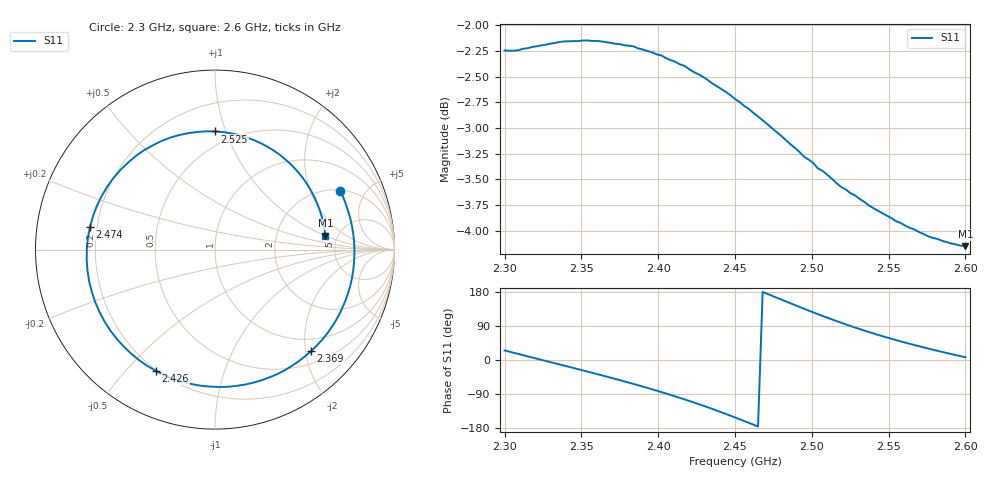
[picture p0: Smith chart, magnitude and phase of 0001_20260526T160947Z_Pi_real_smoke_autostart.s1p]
# Hz S RI R 50
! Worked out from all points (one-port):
!   101 points, 2.3 GHz to 2.6 GHz, reference 50 ohm
!   lowest |S11| = -4.2 dB at 2.6 GHz (marker M1), VSWR 4.26, Z = 200 + j50.4 ohm
!   |S11| at or under -10 dB: nowhere
!   S11 on the Smith chart (normalised r, x): 2.3 GHz: 2.03, +3.31; 2.369 GHz: 0.73, -2.11; 2.426 GHz: 0.20, -0.61; 2.474 GHz: 0.17, +0.09; 2.525 GHz: 0.40, +0.92; 2.6 GHz: 3.99, +1.01
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2.3e9  0.6988 0.3285
2.312e9  0.7544 0.1714
2.321e9  0.7744 0.0475
2.339e9  0.7534 -0.2023
2.354e9  0.6721 -0.3975
2.369e9  0.5352 -0.5658
2.375e9  0.4663 -0.6223
2.384e9  0.3491 -0.6927
2.396e9  0.17 -0.7515
2.405e9  0.0231 -0.7653
2.414e9  -0.1291 -0.7492
2.426e9  -0.3292 -0.6759
2.438e9  -0.5086 -0.5402
2.45e9  -0.6429 -0.3484
2.462e9  -0.7104 -0.1169
2.474e9  -0.6963 0.1269
2.48e9  -0.6583 0.2429
2.489e9  -0.5667 0.3976
2.498e9  -0.4425 0.5205
2.507e9  -0.2986 0.605
2.516e9  -0.1481 0.6488
2.525e9  0.000817 0.6581
2.534e9  0.1364 0.6373
2.543e9  0.2576 0.5915
2.552e9  0.3596 0.5291
2.564e9  0.4671 0.4268
2.582e9  0.5704 0.2554
2.6e9  0.6151 0.0777
